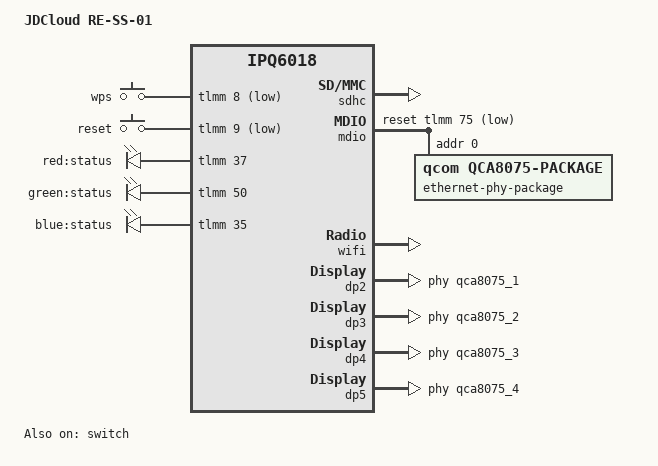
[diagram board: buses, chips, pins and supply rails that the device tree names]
// SPDX-License-Identifier: GPL-2.0-or-later OR MIT

/dts-v1/;

#include "ipq6018.dtsi"
#include "ipq6018-ess.dtsi"
#include "ipq6018-nss.dtsi"
#include "ipq6018-common.dtsi"

#include <dt-bindings/gpio/gpio.h>
#include <dt-bindings/input/input.h>
#include <dt-bindings/leds/common.h>

/ {
	model = "JDCloud RE-SS-01";
	compatible = "jdcloud,re-ss-01", "qcom,ipq6018";

	aliases {
		serial0 = &blsp1_uart3;

		led-boot = &led_status_blue;
		led-failsafe = &led_status_red;
		led-running = &led_status_green;
		led-upgrade = &led_status_red;

		ethernet1 = &dp2;
		ethernet2 = &dp3;
		ethernet3 = &dp4;
		ethernet4 = &dp5;
	};

	chosen {
		stdout-path = "serial0:115200n8";
	};

	keys {
		compatible = "gpio-keys";

		wps {
			label = "wps";
			linux,code = <KEY_WPS_BUTTON>;
			gpios = <&tlmm 8 GPIO_ACTIVE_LOW>;
		};

		reset {
			label = "reset";
			linux,code = <KEY_RESTART>;
			gpios = <&tlmm 9 GPIO_ACTIVE_LOW>;
		};
	};

	leds {
		compatible = "gpio-leds";

		led_status_red: status-red {
			label = "red:status";
			gpios = <&tlmm 37 GPIO_ACTIVE_HIGH>;
		};

		led_status_green: status-green {
			label = "green:status";
			gpios = <&tlmm 50 GPIO_ACTIVE_HIGH>;
		};

		led_status_blue: status-blue {
			label = "blue:status";
			gpios = <&tlmm 35 GPIO_ACTIVE_HIGH>;
		};
	};
};

&sdhc {
	status = "okay";

	/delete-property/ mmc-hs400-1_8v;
	mmc-hs200-1_8v;
	mmc-ddr-1_8v;
};

&mdio {
	status = "okay";

	pinctrl-0 = <&mdio_pins>;
	pinctrl-names = "default";
	reset-gpios = <&tlmm 75 GPIO_ACTIVE_LOW>;

	ethernet-phy-package@0 {
		compatible = "qcom,qca8075-package";
		#address-cells = <1>;
		#size-cells = <0>;
		reg = <0>;

		qca8075_1: ethernet-phy@1 {
			compatible = "ethernet-phy-ieee802.3-c22";
			reg = <1>;
		};

		qca8075_2: ethernet-phy@2 {
			compatible = "ethernet-phy-ieee802.3-c22";
			reg = <2>;
		};

		qca8075_3: ethernet-phy@3 {
			compatible = "ethernet-phy-ieee802.3-c22";
			reg = <3>;
		};

		qca8075_4: ethernet-phy@4 {
			compatible = "ethernet-phy-ieee802.3-c22";
			reg = <4>;
		};
	};
};

&switch {
	status = "okay";

	switch_lan_bmp = <(ESS_PORT2 | ESS_PORT3 | ESS_PORT4)>;
	switch_wan_bmp = <ESS_PORT5>;
	switch_mac_mode = <MAC_MODE_PSGMII>;

	qcom,port_phyinfo {
		port@2 {
			port_id = <2>;
			phy_address = <1>;
		};

		port@3 {
			port_id = <3>;
			phy_address = <2>;
		};

		port@4 {
			port_id = <4>;
			phy_address = <3>;
		};

		port@5 {
			port_id = <5>;
			phy_address = <4>;
		};
	};
};

&wifi {
	status = "okay";
	qcom,ath11k-fw-memory-mode = <1>;
	qcom,ath11k-calibration-variant = "JDC-RE-SS-01";
};

&dp2 {
	status = "okay";
	phy-handle = <&qca8075_1>;
	label = "lan1";
};

&dp3 {
	status = "okay";
	phy-handle = <&qca8075_2>;
	label = "lan2";
};

&dp4 {
	status = "okay";
	phy-handle = <&qca8075_3>;
	label = "lan3";
};

&dp5 {
	status = "okay";
	phy-handle = <&qca8075_4>;
	label = "wan";
};

&edma {
	status = "okay";
};
